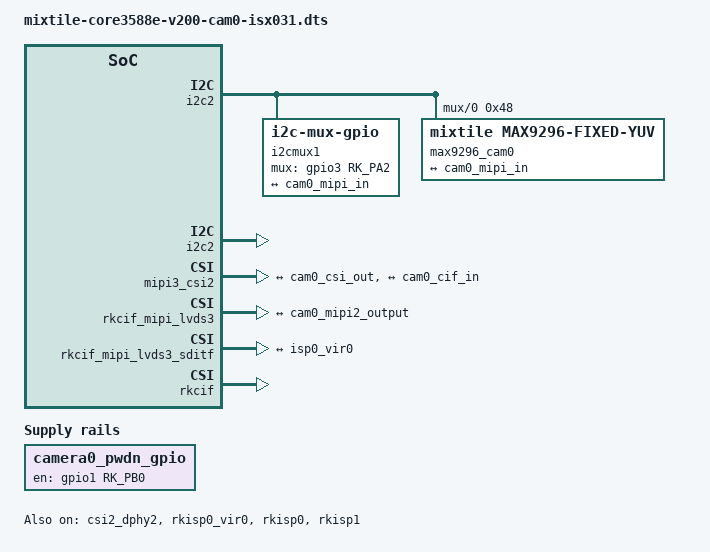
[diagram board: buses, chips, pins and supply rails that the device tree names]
/dts-v1/;
/plugin/;

#include <dt-bindings/gpio/gpio.h>
#include <dt-bindings/pinctrl/rockchip.h>
#include <dt-bindings/clock/rk3588-cru.h>
#include <dt-bindings/power/rk3588-power.h>

/ {
	/* =========================================================
	 * GPIO / REGULATOR / I2C MUX
	 * ========================================================= */
	fragment@0 {
		target-path = "/";
		__overlay__ {

			camera0_pwdn_gpio: camera0-pwdn-gpio {
				compatible         = "regulator-fixed";
				regulator-name     = "camera0_pwdn_gpio";
				regulator-always-on;
				regulator-boot-on;
				enable-active-high;
				gpio               = <&gpio1 RK_PB0 GPIO_ACTIVE_HIGH>;
			};

			i2cmux1: i2cmux1 {
				compatible         = "i2c-mux-gpio";
				#address-cells     = <1>;
				#size-cells        = <0>;
				i2c-parent         = <&i2c2>;
				mux-gpios          = <&gpio3 RK_PA2 GPIO_ACTIVE_HIGH>;

				i2c_cam0: i2c@0 {
					reg            = <0>;
					#address-cells = <1>;
					#size-cells    = <0>;
				};
			};
		};
	};

	/* =========================================================
	 * ENABLE I2C2
	 * ========================================================= */
	fragment@1 {
		target = <&i2c2>;
		__overlay__ {
			pinctrl-names = "default";
			pinctrl-0     = <&i2c2m4_xfer>;
			status        = "okay";
		};
	};

	/* =========================================================
	 * ENABLE I2C MUX
	 * ========================================================= */
	fragment@2 {
		target = <&i2cmux1>;
		__overlay__ {
			status = "okay";
		};
	};

	/* =========================================================
	 * CAM0 GMSL BRIDGE
	 * ========================================================= */
	fragment@3 {
		target = <&i2c_cam0>;
		__overlay__ {

			#address-cells = <1>;
			#size-cells    = <0>;

			max9296_cam0: max9296@48 {
				compatible = "mixtile,max9296-fixed-yuv";
				reg        = <0x48>;

				#address-cells = <1>;
				#size-cells    = <0>;
				status         = "okay";

				rockchip,camera-module-index     = <0>;
				rockchip,camera-module-facing    = "back";
				rockchip,camera-module-name      = "MAX9296";
				rockchip,camera-module-lens-name = "GMSL";

				mixtile,max9296-init-sequence = <
					0x48 0x00 0x05 0x80 0
					0x48 0x00 0x06 0xdf 0
					0x48 0x00 0x01 0x01 0
					0x48 0x00 0x11 0x0f 0
					0x48 0x03 0x13 0x00 0
					0x48 0x00 0x10 0x21 200
					0x48 0x04 0x4b 0x07 0
					0x48 0x04 0x6d 0x15 0
					0x48 0x04 0x4d 0x1e 0
					0x48 0x04 0x4e 0x1e 0
					0x48 0x04 0x4f 0x00 0
					0x48 0x04 0x50 0x00 0
					0x48 0x04 0x51 0x01 0
					0x48 0x04 0x52 0x01 0
					0x48 0x04 0x8b 0x07 0
					0x48 0x04 0xad 0x15 0
					0x48 0x04 0x8d 0x1e 0
					0x48 0x04 0x8e 0x5e 0
					0x48 0x04 0x8f 0x00 0
					0x48 0x04 0x90 0x40 0
					0x48 0x04 0x91 0x01 0
					0x48 0x04 0x92 0x41 0
					0x48 0x04 0x4a 0x40 0
					0x48 0x04 0x8a 0x40 0
					0x48 0x03 0x20 0x2f 100
					0x48 0x03 0x13 0x02 0
				>;

				max96717_cam0: max96717@40 {
					compatible = "mixtile,max96717-script";
					reg        = <0x40>;
					status     = "okay";

					mixtile,init-sequence = <
						0x40 0x00 0x10 0x21 200
						0x40 0x00 0x6b 0x16 0
						0x40 0x00 0x73 0x17 0
						0x40 0x00 0x7b 0x36 0
						0x40 0x00 0x83 0x36 0
						0x40 0x00 0x8b 0x36 0
						0x40 0x00 0x93 0x36 0
						0x40 0x00 0x9b 0x36 0
						0x40 0x00 0xa3 0x36 0
						0x40 0x00 0xab 0x36 20
						0x40 0x02 0xbe 0x10 200
						0x40 0x02 0xd3 0x00 0
						0x40 0x02 0xd6 0x00 0
						0x40 0x00 0x5b 0x01 0
						0x40 0x03 0x18 0x5e 0
						0x40 0x03 0x31 0x33 0
						0x40 0x02 0xd3 0x10 0
						0x40 0x02 0xd5 0x07 0
						0x40 0x02 0xd6 0x10 0
						0x40 0x02 0xd8 0x07 0
						0x40 0x02 0xd3 0x84 0
						0x40 0x02 0xd6 0x84 0
					>;
				};

				isx031_cam0: isx031@1a {
					compatible = "sony,isx031-script";
					reg        = <0x1a>;
					status     = "okay";

					mixtile,init-sequence = <
						0x1a 0xbe 0xf0 0x53 0
						0x1a 0x8a 0x01 0x80 0
					>;
				};

				port {
					cam0_max9296_out: endpoint {
						remote-endpoint  = <&cam0_mipi_in>;
						data-lanes       = <3 4>;
						link-frequencies = /bits/ 64 <456000000>;
					};
				};
			};
		};
	};

	/* =========================================================
	 * CAM0 DPHY2 PIPELINE
	 * ========================================================= */
	fragment@4 {
		target = <&csi2_dphy2>;
		__overlay__ {
			status = "okay";

			ports {
				#address-cells = <1>;
				#size-cells    = <0>;

				port@0 {
					reg            = <0>;
					#address-cells = <1>;
					#size-cells    = <0>;

					cam0_mipi_in: endpoint@1 {
						reg             = <1>;
						remote-endpoint = <&cam0_max9296_out>;
						data-lanes      = <3 4>;
					};
				};

				port@1 {
					reg            = <1>;
					#address-cells = <1>;
					#size-cells    = <0>;

					cam0_csi_out: endpoint@0 {
						reg             = <0>;
						remote-endpoint = <&cam0_mipi2_input>;
					};
				};
			};
		};
	};

	/* =========================================================
	 * CAM0 MIPI CSI2
	 * ========================================================= */
	fragment@5 {
		target = <&mipi3_csi2>;
		__overlay__ {
			status = "okay";

			ports {
				#address-cells = <1>;
				#size-cells    = <0>;

				port@0 {
					reg            = <0>;
					#address-cells = <1>;
					#size-cells    = <0>;

					cam0_mipi2_input: endpoint@1 {
						reg             = <1>;
						remote-endpoint = <&cam0_csi_out>;
					};
				};

				port@1 {
					reg            = <1>;
					#address-cells = <1>;
					#size-cells    = <0>;

					cam0_mipi2_output: endpoint@0 {
						reg             = <0>;
						remote-endpoint = <&cam0_cif_in>;
					};
				};
			};
		};
	};

	/* =========================================================
	 * CAM0 CIF
	 * ========================================================= */
	fragment@6 {
		target = <&rkcif_mipi_lvds3>;
		__overlay__ {
			status = "okay";

			port {
				cam0_cif_in: endpoint {
					remote-endpoint = <&cam0_mipi2_output>;
				};
			};
		};
	};

	/* =========================================================
	 * CAM0 SDITF
	 * ========================================================= */
	fragment@7 {
		target = <&rkcif_mipi_lvds3_sditf>;
		__overlay__ {
			status = "okay";

			port {
				mipi_lvds2_sditf: endpoint {
					remote-endpoint = <&isp0_vir0>;
				};
			};
		};
	};

	fragment@8 {
		target = <&rkisp0_vir0>;
		__overlay__ {
			status = "okay";

			port {
				#address-cells = <1>;
				#size-cells    = <0>;

				isp0_vir0: endpoint@0 {
					reg             = <0>;
					remote-endpoint = <&mipi_lvds2_sditf>;
				};
			};
		};
	};

	/* =========================================================
	 * PIPELINE ENABLE
	 * ========================================================= */
	fragment@9  { target = <&rkcif>;      __overlay__ { status = "okay"; }; };
	fragment@10 { target = <&rkcif_mmu>;  __overlay__ { status = "okay"; }; };
	fragment@11 { target = <&rkisp0>;     __overlay__ { status = "okay"; }; };
	fragment@12 { target = <&isp0_mmu>;   __overlay__ { status = "okay"; }; };
	fragment@13 { target = <&rkisp1>;     __overlay__ { status = "okay"; }; };
	fragment@14 { target = <&isp1_mmu>;   __overlay__ { status = "okay"; }; };
};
